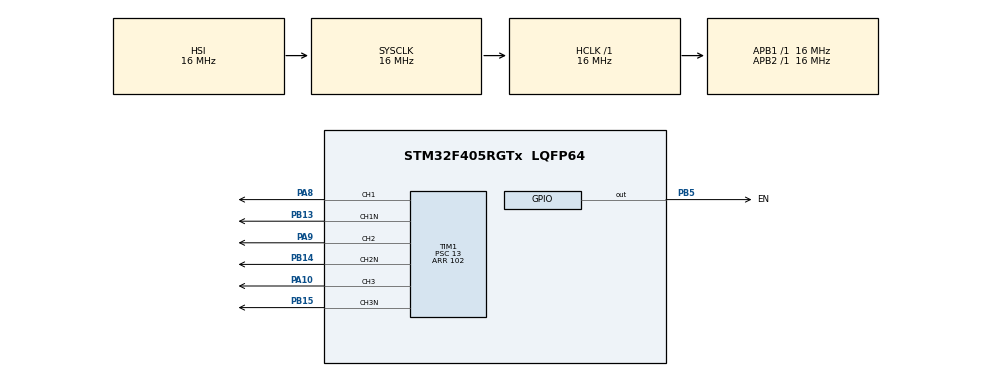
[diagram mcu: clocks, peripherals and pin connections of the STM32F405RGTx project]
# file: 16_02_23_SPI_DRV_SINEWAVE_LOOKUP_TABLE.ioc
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Mcu.Family=STM32F4
Mcu.Name=STM32F405RGTx
Mcu.Package=LQFP64
NVIC.PriorityGroup=NVIC_PRIORITYGROUP_4
NVIC.TIM2_IRQn=true\:0\:0\:false\:false\:true\:true\:true\:true
PA10.Signal=S_TIM1_CH3
PA13.Mode=Serial_Wire
PA13.Signal=SYS_JTMS-SWDIO
PA14.Mode=Serial_Wire
PA14.Signal=SYS_JTCK-SWCLK
PA8.Signal=S_TIM1_CH1
PA9.Signal=S_TIM1_CH2
PB13.Mode=PWM Generation1 CH1 CH1N
PB13.Signal=TIM1_CH1N
PB14.Mode=PWM Generation2 CH2 CH2N
PB14.Signal=TIM1_CH2N
PB15.Mode=PWM Generation3 CH3 CH3N
PB15.Signal=TIM1_CH3N
PB5.GPIO_Label=EN
PB5.PinState=GPIO_PIN_SET
PB5.Signal=GPIO_Output
PH0-OSC_IN.Mode=HSE-External-Oscillator
PH0-OSC_IN.Signal=RCC_OSC_IN
PH1-OSC_OUT.Mode=HSE-External-Oscillator
PH1-OSC_OUT.Signal=RCC_OSC_OUT
ProjectManager.HeapSize=0x200
ProjectManager.StackSize=0x400
ProjectManager.TargetToolchain=STM32CubeIDE
RCC.AHBFreq_Value=16000000
RCC.APB1Freq_Value=16000000
RCC.APB2Freq_Value=16000000
RCC.CortexFreq_Value=16000000
RCC.HSE_VALUE=25000000
RCC.HSI_VALUE=16000000
RCC.LSE_VALUE=32768
RCC.SYSCLKFreq_VALUE=16000000
RCC.VCOOutputFreq_Value=192000000
SH.S_TIM1_CH1.0=TIM1_CH1,PWM Generation1 CH1 CH1N
SH.S_TIM1_CH2.0=TIM1_CH2,PWM Generation2 CH2 CH2N
SH.S_TIM1_CH3.0=TIM1_CH3,PWM Generation3 CH3 CH3N
TIM1.AutoReloadPreload=TIM_AUTORELOAD_PRELOAD_ENABLE
TIM1.Channel-PWM\ Generation1\ CH1\ CH1N=TIM_CHANNEL_1
TIM1.Channel-PWM\ Generation2\ CH2\ CH2N=TIM_CHANNEL_2
TIM1.Channel-PWM\ Generation3\ CH3\ CH3N=TIM_CHANNEL_3
TIM1.DeadTime=20
TIM1.OCNIdleState_1=TIM_OCNIDLESTATE_SET
TIM1.OCNIdleState_2=TIM_OCNIDLESTATE_SET
TIM1.OCNIdleState_3=TIM_OCNIDLESTATE_SET
TIM1.Period=102
TIM1.Prescaler=13
TIM2.Period=2000
TIM2.Prescaler=14
VP_TIM1_VS_ClockSourceINT.Mode=Internal
VP_TIM2_VS_ClockSourceINT.Mode=Internal
board=custom

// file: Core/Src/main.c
/* USER CODE BEGIN Header */
/**
  ******************************************************************************
  * @file           : main.c
  * @brief          : Main program body
  ******************************************************************************
  * @attention
  *
  * Copyright (c) 2023 STMicroelectronics.
  * All rights reserved.
  *
  * This software is licensed under terms that can be found in the LICENSE file
  * in the root directory of this software component.
  * If no LICENSE file comes with this software, it is provided AS-IS.
  *
  ******************************************************************************
  */
/* USER CODE END Header */
#include "main.h"

/* USER CODE BEGIN PTD */
uint16_t PhaseA=0;
uint16_t k=0,l=0,CH2_DC=16;
uint32_t PhaseA_wave[128 ] = {
		50,52,55,57,60,62,64,67,69,71,73,75,77,79,81,82,83,85,87,88,90,91,92,94,95,96,97,
		98,99,98,97,96,95,94,92,91,90,88,87,85,83,82,81,79,77,75,73,71,69,67,64,62,60,57,
		55,52,50,48,45,43,40,38,36,33,31,29,27,25,23,21,19,17,15,13,12,10,9,8,6,5,4,3,2,
		3,4,5,6,8,9,10,12,13,15,17,19,21,23,25,27,29,31,33,36,38,40,43,45,48
};
uint32_t PhaseB_wave[128 ] = {
		90,88,87,85,83,82,81,79,77,75,73,71,69,67,64,62,60,57,55,52,50,48,45,43,40,38,36,
		33,31,29,27,25,23,21,19,17,15,13,12,10,9,8,6,5,4,3,2,3,4,5,6,8,9,10,12,13,15,17,
		19,21,23,25,27,29,31,33,36,38,40,43,45,48,50,52,55,57,60,62,64,67,69,71,73,75,77,
		79,81,82,83,85,87,88,90,91,92,94,95,96,97,98,99,98,97,96,95,94,92,91
};
uint32_t PhaseC_wave[128 ] = {
		15,13,12,10,9,8,6,5,4,3,2,3,4,5,6,8,9,10,12,13,15,17,19,21,23,25,27,29,31,33,36,
		38,40,43,45,48,50,52,55,57,60,62,64,67,69,71,73,75,77,79,81,82,83,85,87,88,90,91,
		92,94,95,96,97,98,99,98,97,96,95,94,92,91,90,88,87,85,83,82,81,79,77,75,73,71,69,
		67,64,62,60,57,55,52,50,48,45,43,40,38,36,33,31,29,27,25,23,21,19,17
};
/* USER CODE END PTD */

TIM_HandleTypeDef htim1;
TIM_HandleTypeDef htim2;

void SystemClock_Config(void);
static void MX_GPIO_Init(void);
static void MX_TIM1_Init(void);
static void MX_TIM2_Init(void);

/* USER CODE BEGIN 0 */
void delay_us (uint16_t us)
{
	__HAL_TIM_SET_COUNTER(&htim2,0);  // set the counter value a 0
	while (__HAL_TIM_GET_COUNTER(&htim2) < us);  // wait for the counter to reach the us input in the parameter
}
/* USER CODE END 0 */

int main(void)
{

  /* MCU Configuration--------------------------------------------------------*/

  /* Reset of all peripherals, Initializes the Flash interface and the Systick. */
  HAL_Init();

  /* Configure the system clock */
  SystemClock_Config();

  /* Initialize all configured peripherals */
  MX_GPIO_Init();
  MX_TIM1_Init();
  MX_TIM2_Init();
  /* USER CODE BEGIN 2 */
  HAL_TIM_Base_Start(&htim2);
  /* USER CODE END 2 */

  /* Infinite loop */
  while (1)
  {
	for(k=0;k<107;k++)
	{
		PhaseA = PhaseA +1;

		 TIM1->CCR1 = PhaseA_wave[PhaseA];
		HAL_TIM_PWM_Start(&htim1, TIM_CHANNEL_1);
		HAL_TIMEx_PWMN_Start(&htim1, TIM_CHANNEL_1);
		//delay_us(30);
		TIM1->CCR2 = PhaseB_wave[PhaseA];
		HAL_TIM_PWM_Start(&htim1, TIM_CHANNEL_2);
		HAL_TIMEx_PWMN_Start(&htim1, TIM_CHANNEL_2);
		//delay_us(30);
		TIM1->CCR3 = PhaseC_wave[PhaseA];
		HAL_TIM_PWM_Start(&htim1, TIM_CHANNEL_3);
		HAL_TIMEx_PWMN_Start(&htim1, TIM_CHANNEL_3);
		//delay_us(80);
	}
	if(k>=107)
	{
		PhaseA=0;
		k=0;
	}
  }
}

void SystemClock_Config(void)
{
  RCC_OscInitTypeDef RCC_OscInitStruct = {0};
  RCC_ClkInitTypeDef RCC_ClkInitStruct = {0};

  /** Configure the main internal regulator output voltage
  */
  __HAL_RCC_PWR_CLK_ENABLE();
  __HAL_PWR_VOLTAGESCALING_CONFIG(PWR_REGULATOR_VOLTAGE_SCALE1);

  /** Initializes the RCC Oscillators according to the specified parameters
  * in the RCC_OscInitTypeDef structure.
  */
  RCC_OscInitStruct.OscillatorType = RCC_OSCILLATORTYPE_HSI;
  RCC_OscInitStruct.HSIState = RCC_HSI_ON;
  RCC_OscInitStruct.HSICalibrationValue = RCC_HSICALIBRATION_DEFAULT;
  RCC_OscInitStruct.PLL.PLLState = RCC_PLL_NONE;
  if (HAL_RCC_OscConfig(&RCC_OscInitStruct) != HAL_OK)
  {
    Error_Handler();
  }

  /** Initializes the CPU, AHB and APB buses clocks
  */
  RCC_ClkInitStruct.ClockType = RCC_CLOCKTYPE_HCLK|RCC_CLOCKTYPE_SYSCLK
                              |RCC_CLOCKTYPE_PCLK1|RCC_CLOCKTYPE_PCLK2;
  RCC_ClkInitStruct.SYSCLKSource = RCC_SYSCLKSOURCE_HSI;
  RCC_ClkInitStruct.AHBCLKDivider = RCC_SYSCLK_DIV1;
  RCC_ClkInitStruct.APB1CLKDivider = RCC_HCLK_DIV1;
  RCC_ClkInitStruct.APB2CLKDivider = RCC_HCLK_DIV1;

  if (HAL_RCC_ClockConfig(&RCC_ClkInitStruct, FLASH_LATENCY_0) != HAL_OK)
  {
    Error_Handler();
  }
}

static void MX_TIM1_Init(void)
{

  TIM_ClockConfigTypeDef sClockSourceConfig = {0};
  TIM_MasterConfigTypeDef sMasterConfig = {0};
  TIM_OC_InitTypeDef sConfigOC = {0};
  TIM_BreakDeadTimeConfigTypeDef sBreakDeadTimeConfig = {0};

  htim1.Instance = TIM1;
  htim1.Init.Prescaler = 13;
  htim1.Init.CounterMode = TIM_COUNTERMODE_UP;
  htim1.Init.Period = 102;
  htim1.Init.ClockDivision = TIM_CLOCKDIVISION_DIV1;
  htim1.Init.RepetitionCounter = 0;
  htim1.Init.AutoReloadPreload = TIM_AUTORELOAD_PRELOAD_ENABLE;
  if (HAL_TIM_Base_Init(&htim1) != HAL_OK)
  {
    Error_Handler();
  }
  sClockSourceConfig.ClockSource = TIM_CLOCKSOURCE_INTERNAL;
  if (HAL_TIM_ConfigClockSource(&htim1, &sClockSourceConfig) != HAL_OK)
  {
    Error_Handler();
  }
  if (HAL_TIM_PWM_Init(&htim1) != HAL_OK)
  {
    Error_Handler();
  }
  sMasterConfig.MasterOutputTrigger = TIM_TRGO_RESET;
  sMasterConfig.MasterSlaveMode = TIM_MASTERSLAVEMODE_DISABLE;
  if (HAL_TIMEx_MasterConfigSynchronization(&htim1, &sMasterConfig) != HAL_OK)
  {
    Error_Handler();
  }
  sConfigOC.OCMode = TIM_OCMODE_PWM1;
  sConfigOC.Pulse = 0;
  sConfigOC.OCPolarity = TIM_OCPOLARITY_HIGH;
  sConfigOC.OCNPolarity = TIM_OCNPOLARITY_HIGH;
  sConfigOC.OCFastMode = TIM_OCFAST_DISABLE;
  sConfigOC.OCIdleState = TIM_OCIDLESTATE_RESET;
  sConfigOC.OCNIdleState = TIM_OCNIDLESTATE_SET;
  if (HAL_TIM_PWM_ConfigChannel(&htim1, &sConfigOC, TIM_CHANNEL_1) != HAL_OK)
  {
    Error_Handler();
  }
  if (HAL_TIM_PWM_ConfigChannel(&htim1, &sConfigOC, TIM_CHANNEL_2) != HAL_OK)
  {
    Error_Handler();
  }
  if (HAL_TIM_PWM_ConfigChannel(&htim1, &sConfigOC, TIM_CHANNEL_3) != HAL_OK)
  {
    Error_Handler();
  }
  sBreakDeadTimeConfig.OffStateRunMode = TIM_OSSR_DISABLE;
  sBreakDeadTimeConfig.OffStateIDLEMode = TIM_OSSI_DISABLE;
  sBreakDeadTimeConfig.LockLevel = TIM_LOCKLEVEL_OFF;
  sBreakDeadTimeConfig.DeadTime = 20;
  sBreakDeadTimeConfig.BreakState = TIM_BREAK_DISABLE;
  sBreakDeadTimeConfig.BreakPolarity = TIM_BREAKPOLARITY_HIGH;
  sBreakDeadTimeConfig.AutomaticOutput = TIM_AUTOMATICOUTPUT_DISABLE;
  if (HAL_TIMEx_ConfigBreakDeadTime(&htim1, &sBreakDeadTimeConfig) != HAL_OK)
  {
    Error_Handler();
  }
  HAL_TIM_MspPostInit(&htim1);

}

static void MX_TIM2_Init(void)
{

  TIM_ClockConfigTypeDef sClockSourceConfig = {0};
  TIM_MasterConfigTypeDef sMasterConfig = {0};

  htim2.Instance = TIM2;
  htim2.Init.Prescaler = 14;
  htim2.Init.CounterMode = TIM_COUNTERMODE_UP;
  htim2.Init.Period = 2000;
  htim2.Init.ClockDivision = TIM_CLOCKDIVISION_DIV1;
  htim2.Init.AutoReloadPreload = TIM_AUTORELOAD_PRELOAD_DISABLE;
  if (HAL_TIM_Base_Init(&htim2) != HAL_OK)
  {
    Error_Handler();
  }
  sClockSourceConfig.ClockSource = TIM_CLOCKSOURCE_INTERNAL;
  if (HAL_TIM_ConfigClockSource(&htim2, &sClockSourceConfig) != HAL_OK)
  {
    Error_Handler();
  }
  sMasterConfig.MasterOutputTrigger = TIM_TRGO_RESET;
  sMasterConfig.MasterSlaveMode = TIM_MASTERSLAVEMODE_DISABLE;
  if (HAL_TIMEx_MasterConfigSynchronization(&htim2, &sMasterConfig) != HAL_OK)
  {
    Error_Handler();
  }

}

static void MX_GPIO_Init(void)
{
  GPIO_InitTypeDef GPIO_InitStruct = {0};

  /* GPIO Ports Clock Enable */
  __HAL_RCC_GPIOH_CLK_ENABLE();
  __HAL_RCC_GPIOB_CLK_ENABLE();
  __HAL_RCC_GPIOA_CLK_ENABLE();

  /*Configure GPIO pin Output Level */
  HAL_GPIO_WritePin(EN_GPIO_Port, EN_Pin, GPIO_PIN_SET);

  /*Configure GPIO pin : EN_Pin */
  GPIO_InitStruct.Pin = EN_Pin;
  GPIO_InitStruct.Mode = GPIO_MODE_OUTPUT_PP;
  GPIO_InitStruct.Pull = GPIO_NOPULL;
  GPIO_InitStruct.Speed = GPIO_SPEED_FREQ_LOW;
  HAL_GPIO_Init(EN_GPIO_Port, &GPIO_InitStruct);

}

void Error_Handler(void)
{
  __disable_irq();
  while (1)
  {
  }
}
